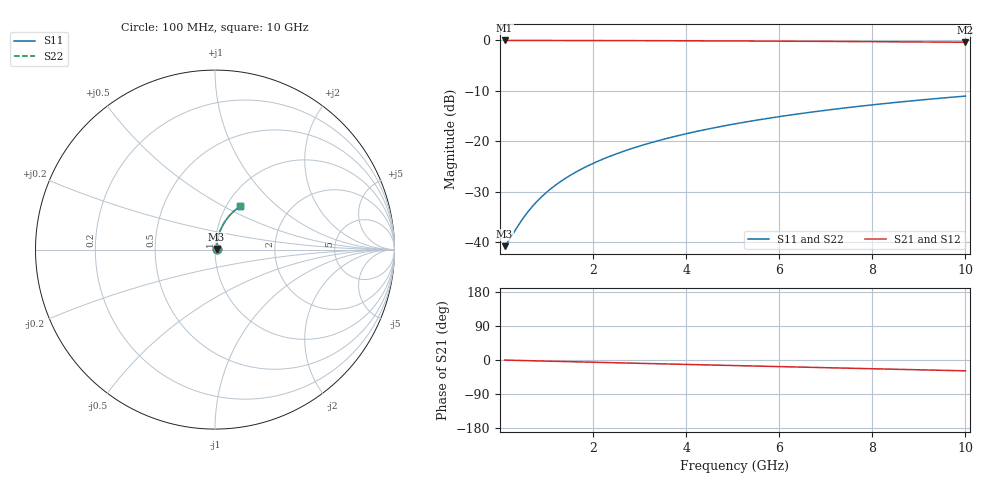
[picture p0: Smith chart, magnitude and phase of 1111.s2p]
# Hz S RI R 50.00
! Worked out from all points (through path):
!   100 points, 100 MHz to 10 GHz, reference 50 ohm
!   highest |S21| = -0.08 dB at 100 MHz (marker M1); lowest = -0.4 dB at 10 GHz (marker M2)
!   group delay of S21, straight-line fit = 7.96 ps
!   lowest |S11| = -40.8 dB at 100 MHz (marker M3), VSWR 1.02, Z = 50.9 + j0.298 ohm
!   |S11| at or under -10 dB: start of sweep to end of sweep
!   |S22| runs from -40.8 to -11.1 dB; largest |S21 - S12| = 0
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1e8  0.00861 0.00293  0.9914 -0.00506  0.9914 -0.00506  0.00861 0.00293
2e8  0.00871 0.00586  0.9913 -0.0101  0.9913 -0.0101  0.00871 0.00586
4e8  0.00896 0.0117  0.991 -0.0203  0.991 -0.0203  0.00896 0.0117
5e8  0.00913 0.0147  0.9908 -0.0253  0.9908 -0.0253  0.00913 0.0147
6e8  0.00932 0.0176  0.9906 -0.0304  0.9906 -0.0304  0.00932 0.0176
7e8  0.00953 0.0205  0.9903 -0.0354  0.9903 -0.0354  0.00953 0.0205
9e8  0.0101 0.0263  0.9897 -0.0455  0.9897 -0.0455  0.0101 0.0263
1.1e9  0.0107 0.0322  0.989 -0.0556  0.989 -0.0556  0.0107 0.0322
1.3e9  0.0114 0.038  0.9882 -0.0657  0.9882 -0.0657  0.0114 0.038
1.5e9  0.0123 0.0438  0.9872 -0.0757  0.9872 -0.0757  0.0123 0.0438
1.8e9  0.0138 0.0524  0.9854 -0.0908  0.9854 -0.0908  0.0138 0.0524
2.1e9  0.0156 0.061  0.9834 -0.1058  0.9834 -0.1058  0.0156 0.061
2.5e9  0.0183 0.0723  0.9802 -0.1257  0.9802 -0.1257  0.0183 0.0723
2.9e9  0.0215 0.0835  0.9765 -0.1454  0.9765 -0.1454  0.0215 0.0835
3.4e9  0.0262 0.0973  0.9711 -0.1699  0.9711 -0.1699  0.0262 0.0973
4.2e9  0.035 0.1187  0.9609 -0.2085  0.9609 -0.2085  0.035 0.1187
5.1e9  0.0469 0.1418  0.947 -0.2508  0.947 -0.2508  0.0469 0.1418
5.9e9  0.0591 0.1612  0.9328 -0.2874  0.9328 -0.2874  0.0591 0.1612
6.7e9  0.0727 0.1794  0.9168 -0.3229  0.9168 -0.3229  0.0727 0.1794
7.5e9  0.0876 0.1964  0.8992 -0.3571  0.8992 -0.3571  0.0876 0.1964
8.4e9  0.1058 0.2139  0.8776 -0.394  0.8776 -0.394  0.1058 0.2139
1e10  0.141 0.2405  0.8353 -0.4553  0.8353 -0.4553  0.141 0.2405
